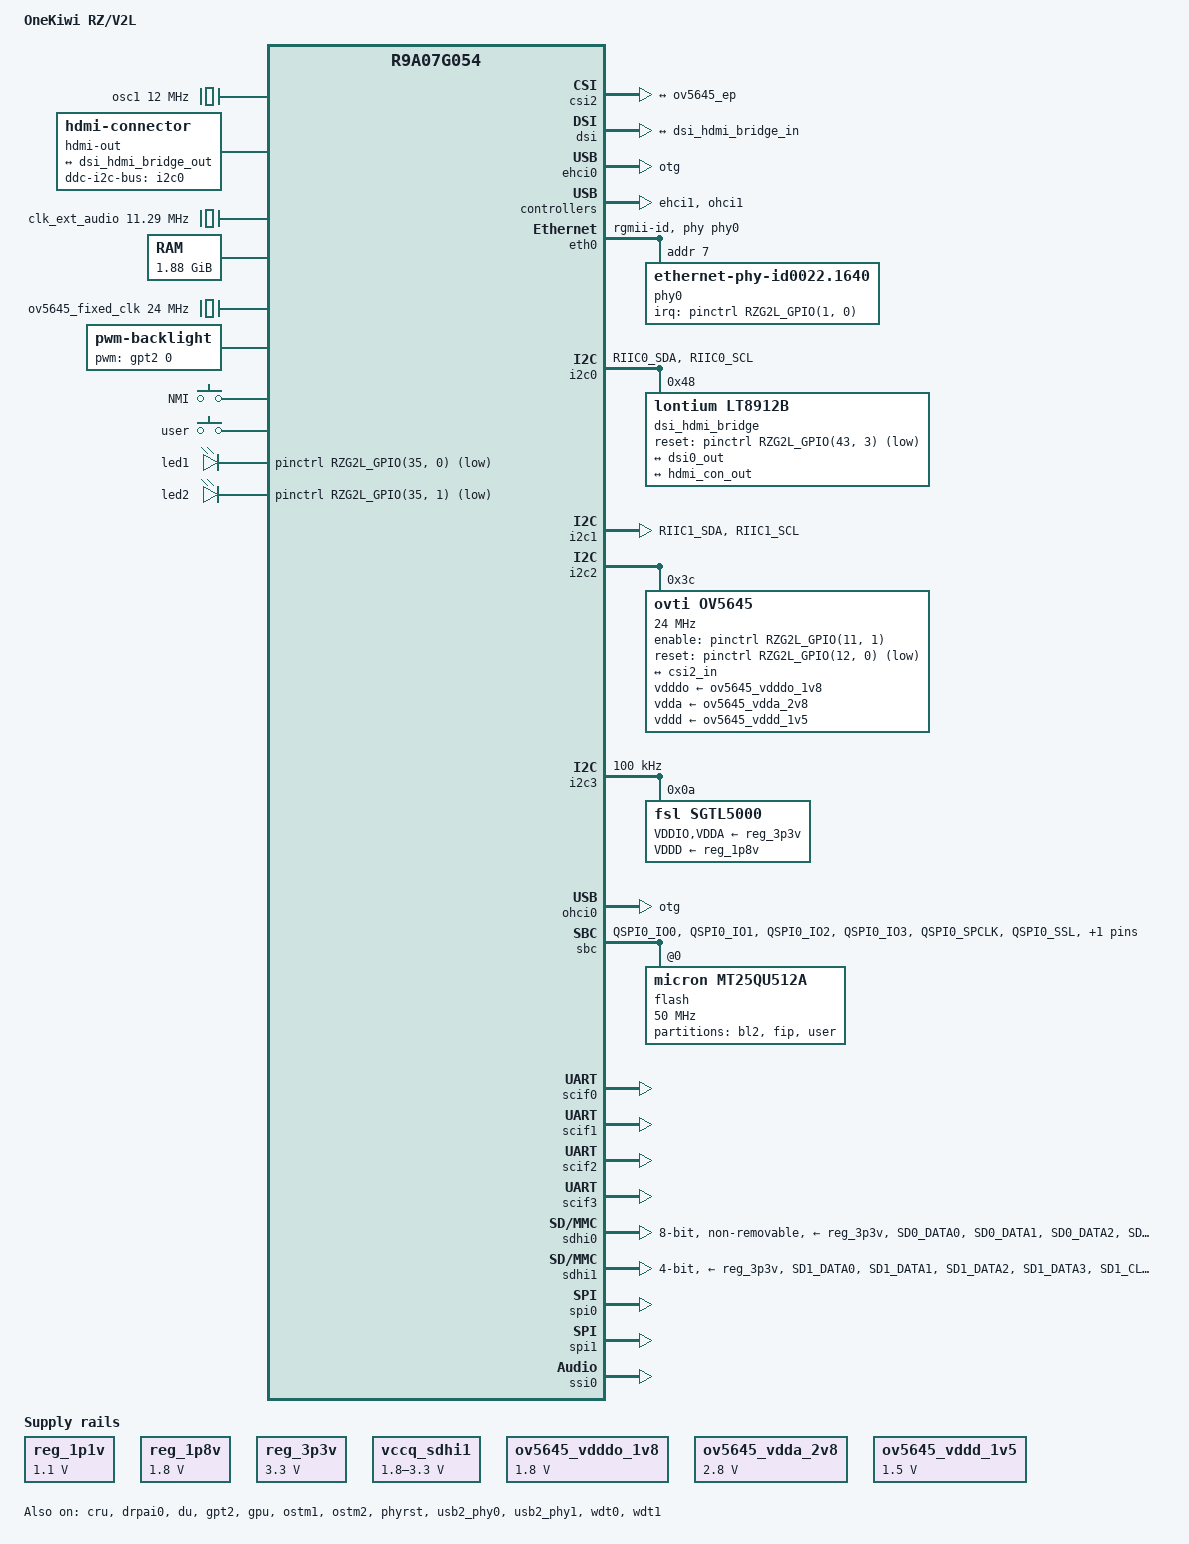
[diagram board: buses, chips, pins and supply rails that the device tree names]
// SPDX-License-Identifier: (GPL-2.0-only OR BSD-2-Clause)
/*
 * Device Tree Source for the OneKiwi RZ/V2L board
 *
 * Copyright (C) 2021 Renesas Electronics Corp.
 */

/dts-v1/;

#include "onekiwi-r9a07g054l2.dtsi"
#include <dt-bindings/gpio/gpio.h>
#include <dt-bindings/input/input.h>
#include <dt-bindings/pinctrl/rzg2l-pinctrl.h>

#define HDMI_ADV7535	0
#define HDMI_LT8912B	1
#define HDMI_LT9611		0
#define PANEL_PH720128	0

/ {
	model = "OneKiwi RZ/V2L";
	compatible = "renesas,smarc-evk", "renesas,r9a07g054l2", "renesas,r9a07g054";

	aliases {
		serial0 = &scif0;
		serial1 = &scif1;
		serial2 = &scif2;
		serial3 = &scif3;
		i2c0 = &i2c0;
		i2c1 = &i2c1;
		i2c2 = &i2c2;
		i2c3 = &i2c3;
		mmc0 = &sdhi0;
		mmc1 = &sdhi1;
		ethernet0 = &eth0;
	};

	/* Chosen Node for Console */
	chosen {
		stdout-path = "serial0:115200n8";  /* Set serial console */
	};

	osc1: cec-clock {
		compatible = "fixed-clock";
		#clock-cells = <0>;
		clock-frequency = <12000000>;
	};

#if HDMI_ADV7535
	hdmi-out {
		compatible = "hdmi-connector";
		type = "d";
		port {
			hdmi_con_out: endpoint {
				remote-endpoint = <&adv7535_out>;
			};
		};
	};
#endif

#if HDMI_LT8912B
	hdmi-out {
		compatible = "hdmi-connector";
		ddc-i2c-bus = <&i2c0>;
		type = "a";

		port {
			hdmi_con_out: endpoint {
				remote-endpoint = <&dsi_hdmi_bridge_out>;
			};
		};
	};
#endif

#if HDMI_LT9611
	hdmi-out {
		compatible = "hdmi-connector";
		label = "hdmi";
		type = "d";

		port {
			hdmi_con_out: endpoint {
				remote-endpoint = <&lt9611_out>;
			};
		};
	};
#endif

	clk_ext_audio: clk_ext_audio {
		compatible = "fixed-clock";
		#clock-cells = <0>;
		clock-frequency = <11289600>;
	};

	sound_rzg2l: sound {
		compatible = "simple-audio-card";
		simple-audio-card,name = "RZV2L-SGTL5000";
		simple-audio-card,format = "i2s";
		simple-audio-card,bitclock-master = <&cpu_dai>;
		simple-audio-card,frame-master = <&cpu_dai>;
		simple-audio-card,mclk-fs = <256>;
		simple-audio-card,widgets =
			"Microphone", "Microphone Jack",
			"Headphone", "Headphone Jack",
			"Speaker", "Speaker Ext",
			"Line", "Line In Jack";
		simple-audio-card,routing =
			"MIC_IN", "Microphone Jack",
			"Microphone Jack", "Mic Bias",
			"LINE_IN", "Line In Jack",
			"Headphone Jack", "HP_OUT",
			"Speaker Ext", "LINE_OUT";

		cpu_dai: simple-audio-card,cpu {
			sound-dai = <&ssi0>;
			system-clock-frequency = <11289600>;
		};
		codec_dai: simple-audio-card,codec {
			sound-dai = <&sgtl5000>;
			//clocks = <&versa3 3>;
		};
	};

	/* Reserved memory regions */
	reserved-memory {
		#address-cells = <2>;
		#size-cells = <2>;
		ranges;

		/* device specific region for contiguous allocations */
		drp_reserved: DRP-AI {
			reusable;
			reg = <0x0 0x80000000 0x0 0x20000000>;
		};

		image_buf0: image_buf@0 {
			compatible = "shared-dma-pool";
			reusable;
			reg = <0x0 0xB0000000 0x0 0x04000000>;
			label = "image_buf0";
		};

		isp_work0: SIMPLE_ISP {
			reusable;
			reg = <0x0 0xB4000000 0x0 0x03000000>;
		};

		global_cma: linux,cma@58000000 {
			compatible = "shared-dma-pool";
			linux,cma-default;
			reusable;
			reg = <0x0 0x58000000 0x0 0x10000000>;
		};

		mmp_reserved: linux,multimedia {
			compatible = "shared-dma-pool";
			reusable;
			reg = <0x00000000 0x68000000 0x0 0x8000000>;
		};
	};

	udmabuf@0 {
		compatible = "ikwzm,u-dma-buf";
		device-name = "udmabuf0";
		minor-number = <0>;
		size = <0x4000000>; // 64MiB
		dma-coherent;
		memory-region = <&image_buf0>;
	};

	/* Memory Node */
	memory@48000000 {
		device_type = "memory";
		/* first 128MB is reserved for secure area. */
		reg = <0x0 0x48000000 0x0 0x78000000>;
	};

	mmngr {
		compatible = "renesas,mmngr";
		memory-region = <&mmp_reserved>;
	};

	mmngrbuf {
		compatible = "renesas,mmngrbuf";
	};

	vspm_if {
		compatible = "renesas,vspm_if";
	};

	/* Voltage Regulators */
	reg_1p1v: regulator-vdd-core {
		compatible = "regulator-fixed";
		regulator-name = "fixed-1.1V";
		regulator-min-microvolt = <1100000>;
		regulator-max-microvolt = <1100000>;
		regulator-boot-on;
		regulator-always-on;
	};

	reg_1p8v: regulator0 {
		compatible = "regulator-fixed";
		regulator-name = "fixed-1.8V";
		regulator-min-microvolt = <1800000>;
		regulator-max-microvolt = <1800000>;
		regulator-boot-on;
		regulator-always-on;
	};

	reg_3p3v: regulator1 {
		compatible = "regulator-fixed";
		regulator-name = "fixed-3.3V";
		regulator-min-microvolt = <3300000>;
		regulator-max-microvolt = <3300000>;
		regulator-boot-on;
		regulator-always-on;
	};

	/* GPIO-controlled regulator for SD card interface */
	vccq_sdhi1: regulator-vccq-sdhi1 {
		compatible = "regulator-gpio";
		regulator-name = "SDHI1 VccQ";
		regulator-min-microvolt = <1800000>;
		regulator-max-microvolt = <3300000>;
		gpios-states = <1>;
		states = <3300000 1>, <1800000 0>;
	};

	ov5645_vdddo_1v8: 1p8v {
		compatible = "regulator-fixed";
		regulator-name = "camera_vdddo";
		regulator-min-microvolt = <1800000>;
		regulator-max-microvolt = <1800000>;
		regulator-always-on;
	};

	ov5645_vdda_2v8: 2p8v {
		compatible = "regulator-fixed";
		regulator-name = "camera_vdda";
		regulator-min-microvolt = <2800000>;
		regulator-max-microvolt = <2800000>;
		regulator-always-on;
	};

	ov5645_vddd_1v5: 1p5v {
		compatible = "regulator-fixed";
		regulator-name = "camera_vddd";
		regulator-min-microvolt = <1500000>;
		regulator-max-microvolt = <1500000>;
		regulator-always-on;
	};

	ov5645_fixed_clk: osc25250-clk {
		compatible = "fixed-clock";
		#clock-cells = <0>;
		clock-frequency = <24000000>;
	};

	backlight: backlight {
		compatible = "pwm-backlight";
		pwms = <&gpt2 0 40000 0>;
		brightness-levels = <0 8 32 64 96 128 160 192 224 255>;
		default-brightness-level = <8>;
		status = "okay";
	};

	gpio-keys {
		compatible = "gpio-keys";
		pinctrl-names = "default";

		nmi {
			interrupt-parent = <&irqc>;
			interrupts = <0 IRQ_TYPE_EDGE_FALLING>;
			linux,code = <4>;
			label = "NMI";
			debounce-interval = <10>;
			wakeup-source;
		};

		user {
			interrupt-parent = <&pinctrl>;
			interrupts = <RZG2L_GPIO(43, 1) IRQ_TYPE_LEVEL_LOW>;
			linux,code = <KEY_1>;
			label = "user";
			debounce-interval = <10>;
			wakeup-source;
		};
	};

	leds {
		compatible = "gpio-leds";

		led1 {
			gpios = <&pinctrl RZG2L_GPIO(35, 0) GPIO_ACTIVE_LOW>;
			label = "led1";
			default-state = "on";
			linux,default-trigger = "heartbeat";
		};

		led2 {
			gpios = <&pinctrl RZG2L_GPIO(35, 1) GPIO_ACTIVE_LOW>;
			label = "led2";
			default-state = "on";
			linux,default-trigger = "heartbeat";
		};
	};
};

&audio_clk1{
	clock-frequency = <11289600>;
};

&audio_clk2{
	clock-frequency = <12288000>;
};

&csi2 {
	status = "okay";

	ports {
		port@0 {
			csi2_in: endpoint {
				clock-lanes = <0>;
				data-lanes = <1 2>;
				remote-endpoint = <&ov5645_ep>;
			};
		};
	};
};

&cru {
	status = "okay";
};

&drpai0 {
	memory-region = <&drp_reserved>;
	linux-memory-region = < &{/memory@48000000} >;
	status = "okay";
};

&dsi {
	status = "okay";

#if HDMI_ADV7535
	ports {
		port@1 {
			dsi0_out: endpoint {
				data-lanes = <1 2 3 4>;
				remote-endpoint = <&adv7535_in>;
			};
		};
	};
#endif

#if HDMI_LT8912B
	ports {
		port@1 {
			reg = <1>;
			dsi0_out: endpoint {
				data-lanes = <0 1 2 3>;
				remote-endpoint = <&dsi_hdmi_bridge_in>;
			};
		};
	};
#endif

#if HDMI_LT9611
	ports {
		port@1 {
			dsi_out: endpoint {
				remote-endpoint = <&lt9611_in>;
				data-lanes = <1 2 3 4>;
			};
		};
	};
#endif

#if PANEL_PH720128
	#address-cells = <1>;
	#size-cells = <0>;

	ports {
		port@1 {
			dsi_out: endpoint {
				remote-endpoint = <&panel_in>;
				data-lanes = <1 2>;
			};
		};
	};

	mipi_panel: panel@0 {
		compatible = "ilitek,ph720128t005";
		reg = <0>;
		power-gpios = <&pinctrl RZG2L_GPIO(42, 4) GPIO_ACTIVE_HIGH>;
		switch-gpios = <&pinctrl RZG2L_GPIO(43, 2) GPIO_ACTIVE_HIGH>;
		backlight = <&backlight>;
		status = "okay";

		port {
			panel_in: endpoint {
				remote-endpoint = <&dsi_out>;
			};
		};
	};
#endif
};

/* Display Unit configuration */
&du {
	status = "okay";
#if HDMI_ADV7535
	dsi-lanes = <4>;
#endif

#if HDMI_LT9611
	dsi-lanes = <4>;
#endif

#if PANEL_PH720128
	dsi-lanes = <2>;
#endif
};

/* USB EHCI controller 0 (USB 2.0 host) */
&ehci0 {
	dr_mode = "otg";
	status = "okay";
	memory-region = <&global_cma>;
};

/* USB EHCI controller 1 (USB 2.0 host) */
&ehci1 {
	status = "okay";
	memory-region = <&global_cma>;
};

/* Ethernet controller configuration */
&eth0 {
	pinctrl-0 = <&eth0_pins>;
	pinctrl-names = "default";
	phy-handle = <&phy0>;
	phy-mode = "rgmii-id";
	status = "okay";

	/* Ethernet PHY configuration */
	phy0: ethernet-phy@7 {
		compatible = "ethernet-phy-id0022.1640",
					 "ethernet-phy-ieee802.3-c22";
		reg = <7>;
		rxc-skew-psec = <2400>;
		txc-skew-psec = <2400>;
		rxdv-skew-psec = <0>;
		txen-skew-psec = <0>;
		rxd0-skew-psec = <0>;
		rxd1-skew-psec = <0>;
		rxd2-skew-psec = <0>;
		rxd3-skew-psec = <0>;
		txd0-skew-psec = <0>;
		txd1-skew-psec = <0>;
		txd2-skew-psec = <0>;
		txd3-skew-psec = <0>;

		interrupt-parent = <&pinctrl>;
		interrupts = <RZG2L_GPIO(1, 0) IRQ_TYPE_LEVEL_LOW>;
	};
};

/* External clock configuration */
&extal_clk {
	clock-frequency = <24000000>;
};

&gpt2 {
	pinctrl-0 = <&gpt2_pins>;
	pinctrl-names = "default";
	channel="channel_A";
	//poeg = <&poegd>;
	status = "okay";
};

&gpu {
	status = "okay";
	mali-supply = <&reg_1p1v>;
};

&i2c0 {
	pinctrl-0 = <&i2c0_pins>;
	pinctrl-names = "default";
	status = "okay";

#if HDMI_ADV7535
	adv7535: hdmi@3d {
		compatible = "adi,adv7535";
		reg = <0x3d>;

		interrupt-parent = <&pinctrl>;
		interrupts = <RZG2L_GPIO(1, 1) IRQ_TYPE_EDGE_FALLING>;
		clocks = <&osc1>;
		clock-names = "cec";
		avdd-supply = <&reg_1p8v>;
		dvdd-supply = <&reg_1p8v>;
		pvdd-supply = <&reg_1p8v>;
		a2vdd-supply = <&reg_1p8v>;
		v3p3-supply = <&reg_3p3v>;
		v1p2-supply = <&reg_1p8v>;

		adi,dsi-lanes = <4>;

		ports {
			#address-cells = <1>;
			#size-cells = <0>;

			port@0 {
				reg = <0>;
				adv7535_in: endpoint {
					remote-endpoint = <&dsi0_out>;
				};
			};

			port@1 {
				reg = <1>;
				adv7535_out: endpoint {
					remote-endpoint = <&hdmi_con_out>;
				};
			};
		};
	};
#endif

#if HDMI_LT8912B
	dsi_hdmi_bridge: dsihdmi@48 {
		compatible = "lontium,lt8912b";
		reg = <0x48>;
		reset-gpios = <&pinctrl RZG2L_GPIO(43, 3) GPIO_ACTIVE_LOW>;

		ports {
			#address-cells = <1>;
			#size-cells = <0>;

			port@0 {
				reg = <0>;
				dsi_hdmi_bridge_in: endpoint@0 {
					data-lanes = <0 1 2 3>;
					remote-endpoint = <&dsi0_out>;
				};
			};

			port@1 {
				reg = <1>;
				dsi_hdmi_bridge_out: endpoint@1 {
					remote-endpoint = <&hdmi_con_out>;
				};
			};
		};
	};
#endif

#if HDMI_LT9611
	lt9611: hdmi-bridge@3b {
		compatible = "lontium,lt9611";
		reg = <0x3b>;
		reset-gpios = <&pinctrl RZG2L_GPIO(43, 3) GPIO_ACTIVE_HIGH>;
		interrupts-extended = <&pinctrl RZG2L_GPIO(1, 1) IRQ_TYPE_EDGE_FALLING>;
		vdd-supply = <&reg_1p8v>;
		vcc-supply = <&reg_3p3v>;

		ports {
			#address-cells = <1>;
			#size-cells = <0>;
			port@0 {
				reg = <0>;
				lt9611_in: endpoint {
					remote-endpoint = <&dsi_out>;
					data-lanes = <1 2 3 4>;
				};
			};
			port@1 {
				reg = <1>;
				lt9611_out: endpoint {
					remote-endpoint = <&hdmi_con_out>;
				};
			};
		};
	};
#endif

#if PANEL_PH720128
	gt911: gt911_ts@14 {
		compatible = "goodix,gt911";
		reg = <0x14>;

		interrupt-parent = <&pinctrl>;
		interrupts = <RZG2L_GPIO(1, 1) IRQ_TYPE_EDGE_FALLING>;
		irq-gpios = <&pinctrl RZG2L_GPIO(1, 1) GPIO_ACTIVE_HIGH>;   /* DSI_TS_nINT */
		reset-gpios = <&pinctrl RZG2L_GPIO(43, 3) GPIO_ACTIVE_HIGH>; /* DSI_TS_RST */
		touchscreen-size-x = <720>;
		touchscreen-size-y = <1280>;
		status = "okay";
	};
#endif
};

&i2c1 {
	pinctrl-0 = <&i2c1_pins>;
	pinctrl-names = "default";
	status = "okay";
};

&i2c2 {
	pinctrl-0 = <&i2c2_pins>;
	pinctrl-names = "default";
	status = "okay";

	#address-cells = <1>;
	#size-cells = <0>;

	ov5645: camera@3c {
		compatible = "ovti,ov5645";
		reg = <0x3c>;
		clocks = <&ov5645_fixed_clk>;
		clock-frequency = <24000000>;
		vdddo-supply = <&ov5645_vdddo_1v8>;
		vdda-supply = <&ov5645_vdda_2v8>;
		vddd-supply = <&ov5645_vddd_1v5>;
		enable-gpios = <&pinctrl RZG2L_GPIO(11, 1) GPIO_ACTIVE_HIGH>;
		reset-gpios = <&pinctrl RZG2L_GPIO(12, 0) GPIO_ACTIVE_LOW>;

		port {
			ov5645_ep: endpoint {
				clock-lanes = <0>;
				data-lanes = <1 2>;
				remote-endpoint = <&csi2_in>;
			};
		};
	};
};

&i2c3 {
	pinctrl-0 = <&i2c3_pins>;
	pinctrl-names = "default";
	clock-frequency = <100000>;
	status = "okay";

	sgtl5000: audio-codec@a {
		#sound-dai-cells = <0>;
		compatible = "fsl,sgtl5000";
		reg = <0xa>;
		VDDIO-supply = <&reg_3p3v>;
		VDDA-supply = <&reg_3p3v>;
		VDDD-supply = <&reg_1p8v>;
		clocks = <&clk_ext_audio>;
	};
};

/* USB OHCI controller 0 (USB 1.1 host) */
&ohci0 {
	dr_mode = "otg"; /* Dual-role (host/device) mode with OTG support */
	status = "okay";
	memory-region = <&global_cma>;
};

/* USB OHCI controller 1 (USB 1.1 host) */
&ohci1 {
	status = "okay";
	memory-region = <&global_cma>;
};

/* OS Timer configuration */
&ostm1 {
	status = "okay";
};

&ostm2 {
	status = "okay";
};

/* PHY reset controller */
&phyrst {
	status = "okay";
};

&sbc {
	pinctrl-0 = <&qspi0_pins>;
	pinctrl-names = "default";
	status = "okay";

	flash@0 {
		compatible = "micron,mt25qu512a", "jedec,spi-nor";
		reg = <0>;
		m25p,fast-read;
		spi-max-frequency = <50000000>;
		spi-rx-bus-width = <4>;
		spi-tx-bus-width = <4>;

		partitions {
			compatible = "fixed-partitions";
			#address-cells = <1>;
			#size-cells = <1>;

			partition@0 {
				label = "bl2";
				reg = <0x00000000 0x0001c000>;
			};

			partition@1d000 {
			/* fip is at offset 0x200 */
				label = "fip";
				reg = <0x0001d000 0x1fe3000>;
			};

			partition@2000000 {
				label = "user";
				reg = <0x02000000 0x2000000>;
			};

		};
	};
};

/* Serial Interface configuration */
&scif0 {
	pinctrl-0 = <&scif0_pins>;
	pinctrl-names = "default";
	status = "okay";
};

&scif1 {
	pinctrl-0 = <&scif1_pins>;
	pinctrl-names = "default";
	status = "okay";
};

&scif2 {
	pinctrl-0 = <&scif2_pins>;
	pinctrl-names = "default";
	uart-has-rtscts;
	status = "okay";
};

&scif3 {
	pinctrl-0 = <&scif3_pins>;
	pinctrl-names = "default";
	status = "okay";
};

/* eMMC */
&sdhi0 {
	pinctrl-names = "default", "state_uhs";
	pinctrl-0 = <&sdhi0_emmc_pins>;
	pinctrl-1 = <&sdhi0_emmc_pins>;

	vmmc-supply = <&reg_3p3v>;
	vqmmc-supply = <&reg_1p8v>;
	bus-width = <8>;
	mmc-hs200-1_8v;
	non-removable;
	fixed-emmc-driver-type = <1>;
	status = "okay";
};

/* microSD */
&sdhi1 {
	pinctrl-0 = <&sdhi1_pins>;
	pinctrl-1 = <&sdhi1_pins_uhs>;
	pinctrl-names = "default", "state_uhs";

	vmmc-supply = <&reg_3p3v>;
	vqmmc-supply = <&reg_1p8v>;
	bus-width = <4>;
	sd-uhs-sdr50;
	sd-uhs-sdr104;
	status = "okay";
};

&spi0 {
	pinctrl-0 = <&spi0_pins>;
	pinctrl-names = "default";
	dmas = <&dmac 0x2e95>, <&dmac 0x2e96>;
	dma-names = "tx", "rx";
	status = "okay";
};

&spi1 {
	pinctrl-0 = <&spi1_pins>;
	pinctrl-names = "default";
	dmas = <&dmac 0x2e99>, <&dmac 0x2e9a>;
	dma-names = "tx", "rx";
	status = "okay";
};

&ssi0 {
	pinctrl-0 = <&ssi0_pins>;
	pinctrl-names = "default";
	status = "okay";
};

/* USB PHY 0 configuration */
&usb2_phy0 {
	pinctrl-0 = <&usb0_pins>;
	pinctrl-names = "default";
	vbus-supply = <&usb0_vbus_otg>;
	status = "okay";
};

/* USB PHY 1 configuration */
&usb2_phy1 {
	pinctrl-0 = <&usb1_pins>;
	pinctrl-names = "default";
	status = "okay";
};

/* Watchdog Timer configuration */
&wdt0 {
	status = "okay";
	timeout-sec = <60>;
};

&wdt1 {
	status = "okay";
	timeout-sec = <60>;
};

/* Pin Control configuration - defines all the pin muxing for the SoC */
&pinctrl {

	can0_pins: can0 {
		pinmux = <RZG2L_PORT_PINMUX(11,0,2)>, /* CAN0_RX */
				 <RZG2L_PORT_PINMUX(10,1,2)>; /* CAN0_TX */
	};

	can1_pins: can1 {
		pinmux = <RZG2L_PORT_PINMUX(13,0,2)>, /* CAN1_RX */
				 <RZG2L_PORT_PINMUX(12,1,2)>; /* CAN1_TX */
	};

	/* Ethernet pin configuration */
	eth0_pins: eth0 {
		txc {
			pinmux = <RZG2L_PORT_PINMUX(20, 0, 1)>; /* ET0_TXC */
			power-source = <1800>;
			output-enable;
		};

		mux {
			pinmux = <RZG2L_PORT_PINMUX(28, 1, 1)>, /* ET0_LINKSTA */
					 <RZG2L_PORT_PINMUX(27, 1, 1)>, /* ET0_MDC */
					 <RZG2L_PORT_PINMUX(28, 0, 1)>, /* ET0_MDIO */
					 <RZG2L_PORT_PINMUX(20, 1, 1)>, /* ET0_TX_CTL */
					 <RZG2L_PORT_PINMUX(20, 2, 1)>, /* ET0_TXD0 */
					 <RZG2L_PORT_PINMUX(21, 0, 1)>, /* ET0_TXD1 */
					 <RZG2L_PORT_PINMUX(21, 1, 1)>, /* ET0_TXD2 */
					 <RZG2L_PORT_PINMUX(22, 0, 1)>, /* ET0_TXD3 */
					 <RZG2L_PORT_PINMUX(24, 0, 1)>, /* ET0_RXC */
					 <RZG2L_PORT_PINMUX(24, 1, 1)>, /* ET0_RX_CTL */
					 <RZG2L_PORT_PINMUX(25, 0, 1)>, /* ET0_RXD0 */
					 <RZG2L_PORT_PINMUX(25, 1, 1)>, /* ET0_RXD1 */
					 <RZG2L_PORT_PINMUX(26, 0, 1)>, /* ET0_RXD2 */
					 <RZG2L_PORT_PINMUX(26, 1, 1)>; /* ET0_RXD3 */
			power-source = <1800>;
		};
	};

	gpt2_pins: gpt2 {
		pinmux = <RZG2L_PORT_PINMUX(2,0,3)>; /* GTIOC2A_A */
	};

	i2c0_pins: i2c0 {
		pins = "RIIC0_SDA", "RIIC0_SCL";
		input-enable;
	};

	i2c1_pins: i2c1 {
		pins = "RIIC1_SDA", "RIIC1_SCL";
		input-enable;
	};
	
	i2c2_pins: i2c2 {
		pinmux = <RZG2L_PORT_PINMUX(3,1,2)>, /* I2C2_SCL */
				 <RZG2L_PORT_PINMUX(3,0,2)>; /* I2C2_SDA */
	};

	i2c3_pins: i2c3 {
		pinmux = <RZG2L_PORT_PINMUX(18,1,3)>, /* I2C3_SCL */
				 <RZG2L_PORT_PINMUX(18,0,3)>; /* I2C3_SDA */
	};

	/* SCIF0 (Serial Interface) pin configuration */
	scif0_pins: scif0 {
		pinmux = <RZG2L_PORT_PINMUX(38, 0, 1)>,	/* TxD */
				 <RZG2L_PORT_PINMUX(38, 1, 1)>;	/* RxD */
	};

	scif1_pins: scif1 {
		pinmux = <RZG2L_PORT_PINMUX(40,1,1)>, /* SCIF1_RXD */
				 <RZG2L_PORT_PINMUX(40,0,1)>; /* SCIF1_TXD */
	};

	scif2_pins: scif2 {
		pinmux = <RZG2L_PORT_PINMUX(48,3,1)>, /* SCIF2_CTS */
				 <RZG2L_PORT_PINMUX(48,4,1)>, /* SCIF2_RTS */
				 <RZG2L_PORT_PINMUX(48,1,1)>, /* SCIF2_RXD */
				 <RZG2L_PORT_PINMUX(48,0,1)>; /* SCIF2_TXD */
	};

	scif3_pins: scif3 {
		pinmux = <RZG2L_PORT_PINMUX(0,1,5)>, /* SCIF3_RXD */
				 <RZG2L_PORT_PINMUX(0,0,5)>; /* SCIF3_TXD */
	};

	/* eMMC (SDHI0) pin configuration */
	sdhi0_emmc_pins: sd0emmc {
		sd0_emmc_data {
			pins = "SD0_DATA0", "SD0_DATA1", "SD0_DATA2", "SD0_DATA3",
				   "SD0_DATA4", "SD0_DATA5", "SD0_DATA6", "SD0_DATA7";
			power-source = <1800>;
		};

		sd0_emmc_ctrl {
			pins = "SD0_CLK", "SD0_CMD";
			power-source = <1800>;
		};

		sd0_emmc_rst {
			pins = "SD0_RST#";
			power-source = <1800>;
		};
	};

	/* SD Card (SDHI1) pin configuration - 3.3V mode */
	sdhi1_pins: sd1 {
		sd1_data {
			pins = "SD1_DATA0", "SD1_DATA1", "SD1_DATA2", "SD1_DATA3";
			power-source = <3300>;
		};

		sd1_ctrl {
			pins = "SD1_CLK", "SD1_CMD";
			power-source = <3300>;
		};

		sd1_mux {
			pinmux = <RZG2L_PORT_PINMUX(19, 0, 1)>; /* SD1_CD */
		};
	};

	/* SD Card (SDHI1) pin configuration - 1.8V UHS mode */
	sdhi1_pins_uhs: sd1_uhs {
		sd1_data_uhs {
			pins = "SD1_DATA0", "SD1_DATA1", "SD1_DATA2", "SD1_DATA3";
			power-source = <1800>;
		};

		sd1_ctrl_uhs {
			pins = "SD1_CLK", "SD1_CMD";
			power-source = <1800>;
		};

		sd1_mux_uhs {
			pinmux = <RZG2L_PORT_PINMUX(19, 0, 1)>; /* SD1_CD */
		};
	};

	qspi0_pins: qspi0 {
		qspi0-data {
			pins = "QSPI0_IO0", "QSPI0_IO1", "QSPI0_IO2", "QSPI0_IO3";
			power-source = <1800>;
		};

		qspi0-ctrl {
			pins = "QSPI0_SPCLK", "QSPI0_SSL", "QSPI_RESET#";
			power-source = <1800>;
		};
	};

	sound_clk_pins: sound_clk {
		pins = "AUDIO_CLK1", "AUDIO_CLK2";
		input-enable;
	};

	spi0_pins: spi0 {
		pinmux = <RZG2L_PORT_PINMUX(47,0,5)>, /* RSPI0_CK_C */
				 <RZG2L_PORT_PINMUX(47,2,5)>, /* RSPI0_MISO_C */
				 <RZG2L_PORT_PINMUX(47,1,5)>, /* RSPI0_MOSI_C */
				 <RZG2L_PORT_PINMUX(47,3,5)>; /* RSPI0_SSL_C */
	};

	spi1_pins: spi1 {
		pinmux = <RZG2L_PORT_PINMUX(44, 0, 1)>, /* CK */
				 <RZG2L_PORT_PINMUX(44, 1, 1)>, /* MOSI */
				 <RZG2L_PORT_PINMUX(44, 2, 1)>, /* MISO */
				 <RZG2L_PORT_PINMUX(44, 3, 1)>; /* SSL */
	};
	
	ssi0_pins: ssi0 {
		pinmux = <RZG2L_PORT_PINMUX(45, 0, 1)>, /* BCK */
				 <RZG2L_PORT_PINMUX(45, 1, 1)>, /* RCK */
				 <RZG2L_PORT_PINMUX(45, 2, 1)>, /* TXD */
				 <RZG2L_PORT_PINMUX(45, 3, 1)>; /* RXD */
	};

	/* USB0 pin configuration */
	usb0_pins: usb0 {
		pinmux = <RZG2L_PORT_PINMUX(4, 0, 1)>, /* VBUS */
				 <RZG2L_PORT_PINMUX(5, 0, 1)>, /* OVC */
				 <RZG2L_PORT_PINMUX(5, 1, 1)>; /* OTG_ID */
	};

	/* USB1 pin configuration */
	usb1_pins: usb1 {
		pinmux = <RZG2L_PORT_PINMUX(42, 0, 1)>, /* VBUS */
				 <RZG2L_PORT_PINMUX(42, 1, 1)>; /* OVC */
	};
};
